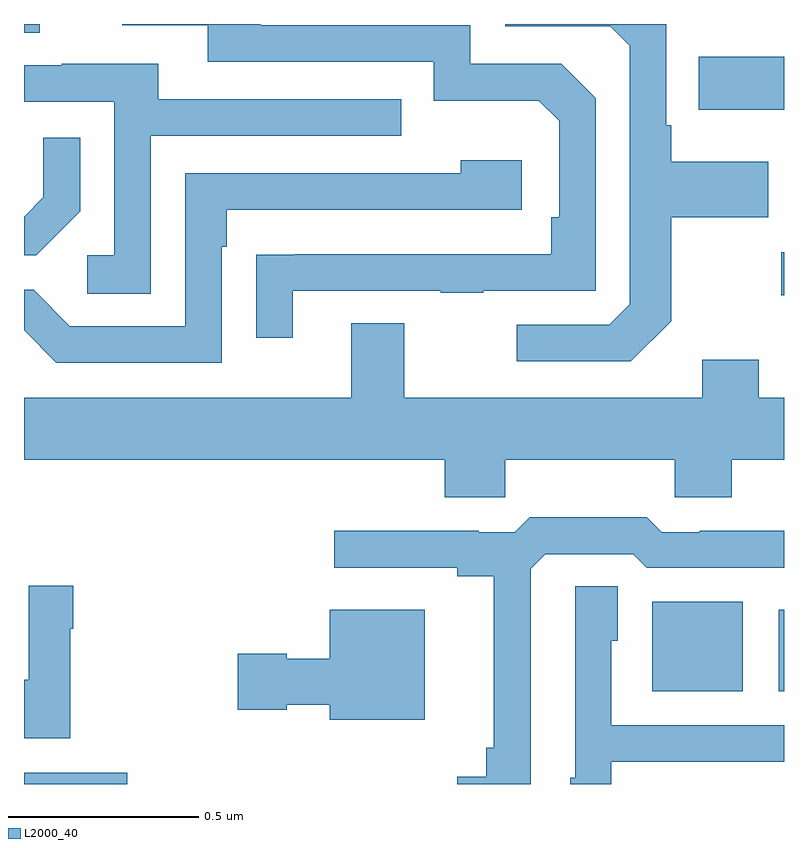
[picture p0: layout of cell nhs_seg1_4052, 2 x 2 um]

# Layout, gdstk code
import gdstk
lib = gdstk.Library(unit=1e-6, precision=1e-09)
def R(c, l, rs):  # rectangles x0, y0, x1, y1
    for r in rs: c.add(gdstk.rectangle(r[:2], r[2:], *l))
def P(c, l, *ps):  # polygons
    for p in ps: c.add(gdstk.Polygon(p, *l))
L2000_40 = (2000, 40)

nhs_seg1_4052 = lib.new_cell('nhs_seg1_4052')
R(nhs_seg1_4052, L2000_40, [(161,564.199,161.272,564.229), (162.653,564.443,162.892,564.679), (162.986,564.443,163,564.658), (162.993,565.485,163,565.598), (162.775,565.973,163,566.113), (161,566.176,161.041,566.199)])
P(nhs_seg1_4052, L2000_40, [(162.703,565.417),(162.703,565.69),(162.959,565.69),(162.959,565.837),(162.703,565.837),(162.703,565.933),(162.69,565.933),(162.69,566.199),(162.267,566.199),(162.267,566.193),(162.543,566.193),(162.594,566.142),(162.594,565.461),(162.54,565.407),(162.297,565.407),(162.297,565.311),(162.597,565.311)],
  [(161.707,565.497),(162.097,565.497),(162.097,565.492),(162.209,565.492),(162.209,565.497),(162.504,565.497),(162.504,566.004),(162.414,566.094),(162.174,566.094),(162.174,566.196),(161.623,566.196),(161.623,566.199),(161.259,566.199),(161.259,566.196),(161.483,566.196),(161.483,566.1),(162.078,566.1),(162.078,565.997),(162.355,565.997),(162.408,565.944),(162.408,565.69),(162.388,565.69),(162.388,565.593),(161.713,565.593),(161.713,565.592),(161.611,565.592),(161.611,565.374),(161.707,565.374)],
  [(161.334,565.905),(161.993,565.905),(161.993,566.001),(161.353,566.001),(161.353,566.095),(161.099,566.095),(161.099,566.091),(161,566.091),(161,565.995),(161.238,565.995),(161.238,565.59),(161.166,565.59),(161.166,565.489),(161.334,565.489)],
  [(161.148,565.706),(161.148,565.9),(161.051,565.9),(161.051,565.743),(161,565.692),(161,565.59),(161.032,565.59)],
  [(161.52,565.613),(161.533,565.613),(161.533,565.71),(162.31,565.71),(162.31,565.84),(162.149,565.84),(162.149,565.806),(161.424,565.806),(161.424,565.404),(161.121,565.404),(161.025,565.5),(161,565.5),(161,565.393),(161.085,565.308),(161.52,565.308)],
  [(162.267,565.052),(162.712,565.052),(162.712,564.954),(162.862,564.954),(162.862,565.052),(163,565.052),(163,565.216),(162.933,565.216),(162.933,565.315),(162.785,565.315),(162.785,565.216),(162.001,565.216),(162.001,565.411),(161.861,565.411),(161.861,565.216),(161,565.216),(161,565.052),(162.107,565.052),(162.107,564.954),(162.267,564.954)],
  [(162.333,564.765),(162.372,564.804),(162.603,564.804),(162.639,564.768),(163,564.768),(163,564.866),(162.778,564.866),(162.778,564.861),(162.678,564.861),(162.639,564.901),(162.331,564.901),(162.291,564.861),(162.197,564.861),(162.197,564.866),(161.817,564.866),(161.817,564.768),(162.14,564.768),(162.14,564.746),(162.236,564.746),(162.236,564.295),(162.217,564.295),(162.217,564.218),(162.14,564.218),(162.14,564.199),(162.333,564.199)],
  [(161.122,564.608),(161.129,564.608),(161.129,564.721),(161.012,564.721),(161.012,564.473),(161,564.473),(161,564.32),(161.122,564.32)],
  [(162.546,564.257),(162.863,564.257),(162.863,564.258),(163,564.258),(163,564.354),(162.546,564.354),(162.546,564.576),(162.562,564.576),(162.562,564.719),(162.45,564.719),(162.45,564.216),(162.437,564.216),(162.437,564.199),(162.546,564.199)],
  [(162.055,564.658),(161.804,564.658),(161.804,564.529),(161.691,564.529),(161.691,564.542),(161.562,564.542),(161.562,564.395),(161.691,564.395),(161.691,564.407),(161.804,564.407),(161.804,564.368),(162.055,564.368)])

lib.write_gds('nhs_seg1_4052.gds')
